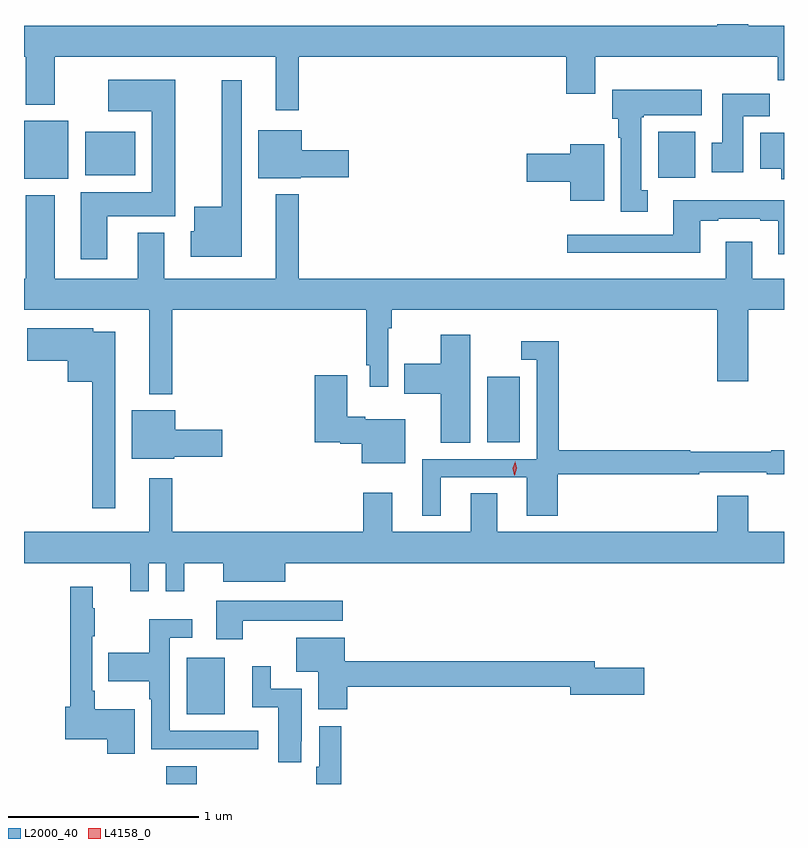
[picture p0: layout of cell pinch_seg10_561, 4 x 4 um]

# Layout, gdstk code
import gdstk
lib = gdstk.Library(unit=1e-6, precision=1e-09)
def R(c, l, rs):  # rectangles x0, y0, x1, y1
    for r in rs: c.add(gdstk.rectangle(r[:2], r[2:], *l))
def P(c, l, *ps):  # polygons
    for p in ps: c.add(gdstk.Polygon(p, *l))
L2000_40 = (2000, 40)
L4158_0 = (4158, 0)

pinch_seg10_561 = lib.new_cell('pinch_seg10_561')
R(pinch_seg10_561, L2000_40, [(317.951,1284.501,318.111,1284.595), (318.059,1284.869,318.259,1285.165), (319.64,1286.3,319.813,1286.644), (320.54,1287.692,320.737,1287.934), (317.525,1287.704,317.788,1287.934)])
P(pinch_seg10_561, L2000_40, [(318.649,1288.328),(320.057,1288.328),(320.057,1288.134),(320.209,1288.134),(320.209,1288.328),(321.169,1288.328),(321.169,1288.204),(321.203,1288.204),(321.203,1288.492),(321.016,1288.492),(321.016,1288.501),(320.852,1288.501),(320.852,1288.492),(317.203,1288.492),(317.203,1288.328),(317.213,1288.328),(317.213,1288.076),(317.365,1288.076),(317.365,1288.328),(318.527,1288.328),(318.527,1288.047),(318.649,1288.047)],
  [(317.641,1287.488),(317.998,1287.488),(317.998,1288.207),(317.646,1288.207),(317.646,1288.043),(317.876,1288.043),(317.876,1287.616),(317.501,1287.616),(317.501,1287.264),(317.641,1287.264)],
  [(318.349,1288.204),(318.245,1288.204),(318.245,1287.538),(318.098,1287.538),(318.098,1287.411),(318.08,1287.411),(318.08,1287.275),(318.349,1287.275)],
  [(320.485,1287.626),(320.452,1287.626),(320.452,1288.009),(320.466,1288.009),(320.466,1288.022),(320.77,1288.022),(320.77,1288.156),(320.3,1288.156),(320.3,1288.002),(320.33,1288.002),(320.33,1287.902),(320.345,1287.902),(320.345,1287.513),(320.485,1287.513)],
  [(320.989,1288.016),(321.128,1288.016),(321.128,1288.135),(320.879,1288.135),(320.879,1287.876),(320.822,1287.876),(320.822,1287.72),(320.989,1287.72)],
  [(317.437,1287.991),(317.204,1287.991),(317.204,1287.852),(317.203,1287.852),(317.203,1287.686),(317.437,1287.686)],
  [(318.66,1287.695),(318.913,1287.695),(318.913,1287.837),(318.664,1287.837),(318.664,1287.943),(318.437,1287.943),(318.437,1287.689),(318.66,1287.689)],
  [(321.203,1287.928),(321.077,1287.928),(321.077,1287.74),(321.188,1287.74),(321.188,1287.683),(321.203,1287.683)],
  [(320.257,1287.868),(320.078,1287.868),(320.078,1287.818),(319.848,1287.818),(319.848,1287.671),(320.078,1287.671),(320.078,1287.572),(320.257,1287.572)],
  [(317.983,1286.996),(319.003,1286.996),(319.003,1286.704),(319.023,1286.704),(319.023,1286.592),(319.119,1286.592),(319.119,1286.9),(319.139,1286.9),(319.139,1286.996),(320.852,1286.996),(320.852,1286.622),(321.016,1286.622),(321.016,1286.996),(321.203,1286.996),(321.203,1287.16),(321.037,1287.16),(321.037,1287.355),(320.897,1287.355),(320.897,1287.16),(318.649,1287.16),(318.649,1287.604),(318.527,1287.604),(318.527,1287.16),(317.941,1287.16),(317.941,1287.403),(317.801,1287.403),(317.801,1287.16),(317.365,1287.16),(317.365,1287.601),(317.213,1287.601),(317.213,1287.16),(317.203,1287.16),(317.203,1286.996),(317.861,1286.996),(317.861,1286.552),(317.983,1286.552)],
  [(321.203,1287.574),(320.621,1287.574),(320.621,1287.393),(320.061,1287.393),(320.061,1287.296),(320.761,1287.296),(320.761,1287.465),(320.857,1287.465),(320.857,1287.477),(321.077,1287.477),(321.077,1287.465),(321.173,1287.465),(321.173,1287.288),(321.203,1287.288)],
  [(317.683,1286.881),(317.568,1286.881),(317.568,1286.899),(317.22,1286.899),(317.22,1286.729),(317.432,1286.729),(317.432,1286.618),(317.562,1286.618),(317.562,1285.953),(317.683,1285.953)],
  [(319.552,1286.866),(319.397,1286.866),(319.397,1286.713),(319.204,1286.713),(319.204,1286.555),(319.397,1286.555),(319.397,1286.296),(319.552,1286.296)],
  [(319.396,1286.115),(319.85,1286.115),(319.85,1285.914),(320.012,1285.914),(320.012,1286.13),(320.756,1286.13),(320.756,1286.142),(321.112,1286.142),(321.112,1286.13),(321.203,1286.13),(321.203,1286.258),(321.136,1286.258),(321.136,1286.251),(320.709,1286.251),(320.709,1286.258),(320.018,1286.258),(320.018,1286.83),(319.821,1286.83),(319.821,1286.733),(319.902,1286.733),(319.902,1286.211),(319.298,1286.211),(319.298,1285.914),(319.396,1285.914)],
  [(319.21,1286.422),(319,1286.422),(319,1286.435),(318.904,1286.435),(318.904,1286.653),(318.734,1286.653),(318.734,1286.3),(318.867,1286.3),(318.867,1286.293),(318.98,1286.293),(318.98,1286.189),(319.21,1286.189)],
  [(317.994,1286.224),(318.247,1286.224),(318.247,1286.366),(317.998,1286.366),(317.998,1286.467),(317.771,1286.467),(317.771,1286.213),(317.994,1286.213)],
  [(317.859,1285.664),(317.949,1285.664),(317.949,1285.515),(318.047,1285.515),(318.047,1285.664),(318.251,1285.664),(318.251,1285.565),(318.577,1285.565),(318.577,1285.664),(321.203,1285.664),(321.203,1285.828),(321.016,1285.828),(321.016,1286.017),(320.852,1286.017),(320.852,1285.828),(319.693,1285.828),(319.693,1286.03),(319.553,1286.03),(319.553,1285.828),(319.141,1285.828),(319.141,1286.035),(318.989,1286.035),(318.989,1285.828),(317.983,1285.828),(317.983,1286.11),(317.861,1286.11),(317.861,1285.828),(317.203,1285.828),(317.203,1285.664),(317.762,1285.664),(317.762,1285.515),(317.859,1285.515)],
  [(317.785,1284.895),(317.575,1284.895),(317.575,1284.991),(317.562,1284.991),(317.562,1285.279),(317.575,1285.279),(317.575,1285.427),(317.564,1285.427),(317.564,1285.54),(317.446,1285.54),(317.446,1284.908),(317.42,1284.908),(317.42,1284.737),(317.642,1284.737),(317.642,1284.66),(317.785,1284.66)],
  [(318.355,1285.361),(318.88,1285.361),(318.88,1285.465),(318.215,1285.465),(318.215,1285.263),(318.355,1285.263)],
  [(318.436,1284.78),(317.97,1284.78),(317.97,1285.272),(318.088,1285.272),(318.088,1285.369),(317.862,1285.369),(317.862,1285.191),(317.647,1285.191),(317.647,1285.043),(317.862,1285.043),(317.862,1284.947),(317.874,1284.947),(317.874,1284.684),(318.199,1284.684),(318.199,1284.683),(318.436,1284.683)],
  [(318.905,1285.012),(320.078,1285.012),(320.078,1284.97),(320.467,1284.97),(320.467,1285.112),(320.206,1285.112),(320.206,1285.148),(318.892,1285.148),(318.892,1285.27),(318.635,1285.27),(318.635,1285.091),(318.752,1285.091),(318.752,1284.894),(318.905,1284.894)],
  [(318.663,1284.727),(318.664,1284.727),(318.664,1285.002),(318.502,1285.002),(318.502,1285.12),(318.404,1285.12),(318.404,1284.906),(318.542,1284.906),(318.542,1284.615),(318.663,1284.615)],
  [(318.872,1284.805),(318.756,1284.805),(318.756,1284.592),(318.741,1284.592),(318.741,1284.501),(318.872,1284.501)])
P(pinch_seg10_561, L4158_0, [(319.784,1286.127),(319.784,1286.127),(319.776,1286.163),(319.788,1286.198),(319.788,1286.199),(319.788,1286.198),(319.796,1286.162),(319.785,1286.127)])

lib.write_gds('pinch_seg10_561.gds')
